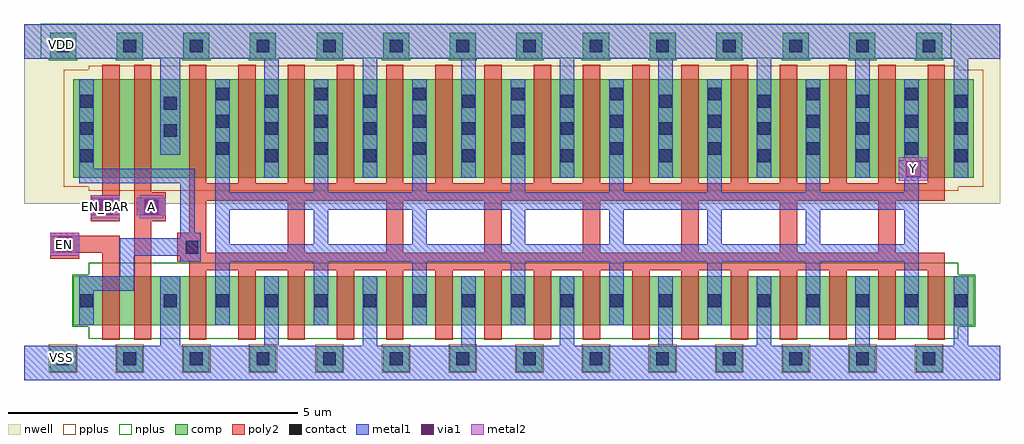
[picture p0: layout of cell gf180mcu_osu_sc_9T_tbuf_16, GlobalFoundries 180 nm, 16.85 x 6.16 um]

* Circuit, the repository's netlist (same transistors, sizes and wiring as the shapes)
* Copyright 2022 Google LLC
*
* Licensed under the Apache License, Version 2.0 (the "License");
* you may not use this file except in compliance with the License.
* You may obtain a copy of the License at
*
*      http://www.apache.org/licenses/LICENSE-2.0
*
* Unless required by applicable law or agreed to in writing, software
* distributed under the License is distributed on an "AS IS" BASIS,
* WITHOUT WARRANTIES OR CONDITIONS OF ANY KIND, either express or implied.
* See the License for the specific language governing permissions and
* limitations under the License.

.option scale=0.05u

.subckt gf180mcu_osu_sc_9T_tbuf_16 A Y EN EN_BAR
X0 Y a_17_19 VDD VDD pmos_3p3 w=34 l=6
X1 VSS a_17_19 Y VSS nmos_3p3 w=17 l=6
X2 VDD a_17_19 Y VDD pmos_3p3 w=34 l=6
X3 Y a_17_19 VSS VSS nmos_3p3 w=17 l=6
X4 VDD a_17_19 Y VDD pmos_3p3 w=34 l=6
X5 Y a_17_19 VSS VSS nmos_3p3 w=17 l=6
X6 Y a_17_19 VSS VSS nmos_3p3 w=17 l=6
X7 Y a_17_19 VSS VSS nmos_3p3 w=17 l=6
X8 Y a_17_19 VDD VDD pmos_3p3 w=34 l=6
X9 Y a_17_19 VDD VDD pmos_3p3 w=34 l=6
X10 Y a_17_19 VDD VDD pmos_3p3 w=34 l=6
X11 Y a_17_19 VDD VDD pmos_3p3 w=34 l=6
X12 VSS a_17_19 Y VSS nmos_3p3 w=17 l=6
X13 VDD a_17_19 Y VDD pmos_3p3 w=34 l=6
X14 Y a_17_19 VSS VSS nmos_3p3 w=17 l=6
X15 Y a_17_19 VSS VSS nmos_3p3 w=17 l=6
X16 VSS a_17_19 Y VSS nmos_3p3 w=17 l=6
X17 Y a_17_19 VDD VDD pmos_3p3 w=34 l=6
X18 a_33_19 EN a_17_19 VSS nmos_3p3 w=17 l=6
X19 VSS a_17_19 Y VSS nmos_3p3 w=17 l=6
X20 VSS a_17_19 Y VSS nmos_3p3 w=17 l=6
X21 Y a_17_19 VDD VDD pmos_3p3 w=34 l=6
X22 VSS a_17_19 Y VSS nmos_3p3 w=17 l=6
X23 VSS a_17_19 Y VSS nmos_3p3 w=17 l=6
X24 VDD a_17_19 Y VDD pmos_3p3 w=34 l=6
X25 a_33_70 EN_BAR a_17_19 VDD pmos_3p3 w=34 l=6
X26 VDD a_17_19 Y VDD pmos_3p3 w=34 l=6
X27 VDD a_17_19 Y VDD pmos_3p3 w=34 l=6
X28 VSS A a_33_19 VSS nmos_3p3 w=17 l=6
X29 Y a_17_19 VSS VSS nmos_3p3 w=17 l=6
X30 VDD a_17_19 Y VDD pmos_3p3 w=34 l=6
X31 VDD a_17_19 Y VDD pmos_3p3 w=34 l=6
X32 Y a_17_19 VSS VSS nmos_3p3 w=17 l=6
X33 Y a_17_19 VDD VDD pmos_3p3 w=34 l=6
X34 VDD A a_33_70 VDD pmos_3p3 w=34 l=6
X35 VSS a_17_19 Y VSS nmos_3p3 w=17 l=6
.ends

** hspice subcircuit dictionary

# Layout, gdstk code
import gdstk
lib = gdstk.Library(unit=1e-6, precision=1e-09)
def R(c, l, rs):  # rectangles x0, y0, x1, y1
    for r in rs: c.add(gdstk.rectangle(r[:2], r[2:], *l))
def A(c, l, x, y, w, h, nx, ny, dx, dy):  # array of equal rectangles
    R(c, l, [(x+i*dx, y+j*dy, x+i*dx+w, y+j*dy+h) for i in range(nx) for j in range(ny)])
nwell = (21, 0)
comp = (22, 0)
poly2 = (30, 0)
pplus = (31, 0)
nplus = (32, 0)
contact = (33, 0)
metal1 = (34, 0)
via1 = (35, 0)
metal2 = (36, 0)

gf180mcu_osu_sc_9t_tbuf_ = lib.new_cell('gf180mcu_osu_sc_9T_tbuf_16')
R(gf180mcu_osu_sc_9t_tbuf_, nwell, [(0,3.05,16.85,6.15)])
A(gf180mcu_osu_sc_9t_tbuf_, comp, 0.45, 0.15, 0.45, 0.45, 14, 2, 1.15, 5.4)
R(gf180mcu_osu_sc_9t_tbuf_, comp, [(0.85,0.95,16.4,1.8), (0.85,3.5,16.4,5.2)])
A(gf180mcu_osu_sc_9t_tbuf_, poly2, 2.85, 0.7, 0.3, 1.2, 16, 1, 0.85, 0)
A(gf180mcu_osu_sc_9t_tbuf_, poly2, 4.55, 2.2, 0.3, 0.9, 7, 1, 1.7, 0)
A(gf180mcu_osu_sc_9t_tbuf_, poly2, 2.85, 3.4, 0.3, 2.05, 16, 1, 0.85, 0)
R(gf180mcu_osu_sc_9t_tbuf_, poly2, [(1.35,0.7,1.65,2.2), (1.9,0.7,2.2,2.75), (2.85,1.9,15.9,2.05), (2.65,2.05,15.9,2.2), (0.45,2.1,0.95,2.2), (0.45,2.2,1.65,2.5), (2.65,2.2,3.15,2.55), (0.45,2.5,0.95,2.55), (2.85,2.55,3.15,3.1), (1.15,2.75,1.65,3.2), (1.9,2.75,2.45,3.25), (2.85,3.1,15.9,3.4), (1.35,3.2,1.65,5.45), (1.9,3.25,2.2,5.45)])
A(gf180mcu_osu_sc_9t_tbuf_, pplus, 0.43, 0.13, 0.49, 0.49, 14, 1, 1.15, 0)
R(gf180mcu_osu_sc_9t_tbuf_, pplus, [(1.12,3.27,16.13,3.34), (0.69,3.34,16.56,5.36), (1.12,5.36,16.13,5.43)])
A(gf180mcu_osu_sc_9t_tbuf_, nplus, 0.43, 5.53, 0.49, 0.03, 14, 1, 1.15, 0)
R(gf180mcu_osu_sc_9t_tbuf_, nplus, [(1.12,0.72,16.13,0.93), (0.83,0.93,16.42,1.82), (1.12,1.82,16.13,2.03), (0.29,5.56,16.01,6.16)])
A(gf180mcu_osu_sc_9t_tbuf_, contact, 0.565, 0.265, 0.22, 0.22, 14, 2, 1.15, 5.4)
A(gf180mcu_osu_sc_9t_tbuf_, contact, 3.315, 1.265, 0.22, 0.22, 16, 1, 0.85, 0)
A(gf180mcu_osu_sc_9t_tbuf_, contact, 0.965, 3.77, 0.22, 0.22, 1, 3, 0, 0.47)
A(gf180mcu_osu_sc_9t_tbuf_, contact, 4.165, 3.77, 0.22, 0.22, 8, 3, 1.7, 0.47)
A(gf180mcu_osu_sc_9t_tbuf_, contact, 3.315, 3.895, 0.22, 0.22, 8, 3, 1.7, 0.47)
R(gf180mcu_osu_sc_9t_tbuf_, contact, [(0.965,1.265,1.185,1.485), (2.415,1.265,2.635,1.485), (2.79,2.19,3.01,2.41), (0.565,2.215,0.785,2.435), (1.265,2.865,1.485,3.085), (2.09,2.89,2.31,3.11), (2.415,4.205,2.635,4.425), (2.415,4.675,2.635,4.895)])
A(gf180mcu_osu_sc_9t_tbuf_, metal1, 4.15, 0.6, 0.25, 1.2, 8, 1, 1.7, 0)
A(gf180mcu_osu_sc_9t_tbuf_, metal1, 3.3, 0.95, 0.25, 1.1, 8, 1, 1.7, 0)
A(gf180mcu_osu_sc_9t_tbuf_, metal1, 3.3, 2.35, 0.25, 0.6, 8, 1, 1.7, 0)
A(gf180mcu_osu_sc_9t_tbuf_, metal1, 3.3, 3.25, 0.25, 1.95, 7, 1, 1.7, 0)
A(gf180mcu_osu_sc_9t_tbuf_, metal1, 4.15, 3.5, 0.25, 2.05, 8, 1, 1.7, 0)
R(gf180mcu_osu_sc_9t_tbuf_, metal1, [(0,0,16.85,0.6), (2.35,0.6,2.7,1.8), (0.95,0.95,1.2,1.55), (0.95,1.55,1.9,1.8), (1.65,1.8,1.9,2.15), (2.7,2.05,3.05,2.15), (3.3,2.05,15.45,2.35), (1.65,2.15,3.05,2.45), (0.45,2.2,0.95,2.5), (2.7,2.45,3.05,2.55), (2.7,2.55,2.95,3.4), (1.15,2.85,1.65,3.15), (1.95,2.85,2.45,3.15), (3.3,2.95,15.45,3.25), (15.2,3.25,15.45,3.5), (0.95,3.4,2.95,3.65), (15.1,3.5,15.6,3.8), (0.95,3.65,1.2,5.2), (15.2,3.8,15.45,5.2), (2.35,3.9,2.7,5.55), (0,5.55,16.85,6.15)])
R(gf180mcu_osu_sc_9t_tbuf_, via1, [(0.57,2.22,0.83,2.48), (1.27,2.87,1.53,3.13), (2.07,2.87,2.33,3.13), (15.22,3.52,15.48,3.78)])
R(gf180mcu_osu_sc_9t_tbuf_, metal2, [(0.45,2.15,0.95,2.55), (1.15,2.8,1.65,3.2), (2,2.8,2.4,2.85), (1.95,2.85,2.45,3.15), (2,3.15,2.4,3.2), (15.1,3.45,15.6,3.85)])
gf180mcu_osu_sc_9t_tbuf_.add(gdstk.Label('VDD', (0.65,5.8), layer=34, texttype=0))
gf180mcu_osu_sc_9t_tbuf_.add(gdstk.Label('VSS', (0.65,0.4), layer=34, texttype=0))
gf180mcu_osu_sc_9t_tbuf_.add(gdstk.Label('A', (2.2,3), layer=36, texttype=10))
gf180mcu_osu_sc_9t_tbuf_.add(gdstk.Label('Y', (15.35,3.65), layer=36, texttype=10))
gf180mcu_osu_sc_9t_tbuf_.add(gdstk.Label('EN', (0.7,2.35), layer=36, texttype=10))
gf180mcu_osu_sc_9t_tbuf_.add(gdstk.Label('EN_BAR', (1.4,3), layer=36, texttype=10))

lib.write_gds('gf180mcu_osu_sc_9T_tbuf_16.gds')
